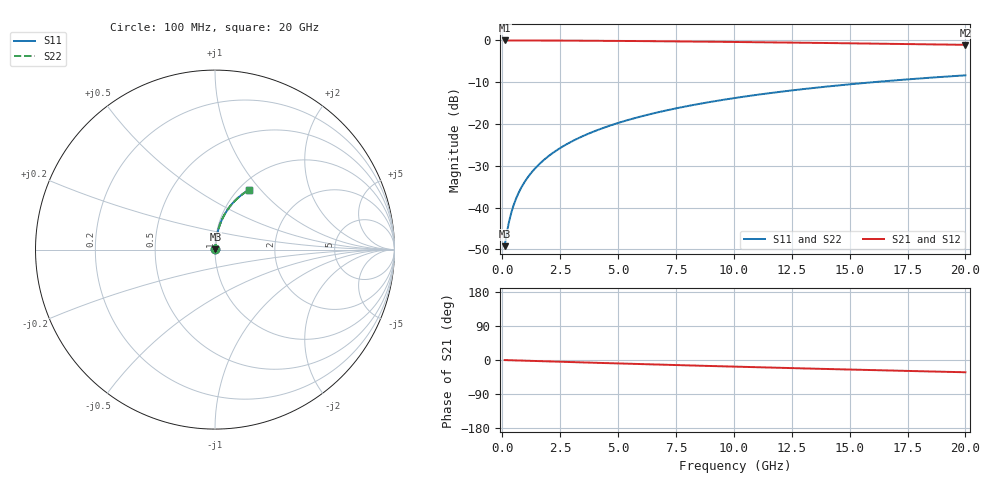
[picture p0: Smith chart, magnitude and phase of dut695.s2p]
! Touchstone file exported from HFSS 2024.1.0
!  File:  C:/UserFiles/LocalFiles/RDL_TSV_Batchsim/temp_RDL_top_695_1779782979.aedt
!  Generated:  04:11:55 PM May 26, 2026
!  Design:  RDL_top
!  Project:  temp_RDL_top_695_1779782979
!  Setup:  Setup1
!  Solution:  Sweep
! Variables:
!  dtsv = 10.80580581um
!  hbump = 3um
!  htsv = 94.2um
!  ldown = 100um
!  lrdl = 387.77um
!  p = 40
!  p1 = 52.47um
!  rhole = 1um
!  t = 450um
!  tdown = 3.915915916um
!  trdl = 3.88um
!  wdown = 15.38538539um
!  wrdl = 13.59um
# GHz S MA R 50.000000
! Terminal data exported
! Port[1] = Box2_T1
! Port[2] = Box2_T2
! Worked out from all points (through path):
!   200 points, 100 MHz to 20 GHz, reference 50 ohm
!   highest |S21| = -0.02 dB at 100 MHz (marker M1); lowest = -1.1 dB at 20 GHz (marker M2)
!   group delay of S21, straight-line fit = 4.48 ps
!   lowest |S11| = -49.2 dB at 100 MHz (marker M3), VSWR 1.01, Z = 50.3 + j0.215 ohm
!   |S11| at or under -10 dB: start of sweep to 16.03 GHz
!   |S22| runs from -49.2 to -8.4 dB; largest |S21 - S12| = 4.1e-15
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0.1  0.003458 38.2  0.9973 -0.2  0.9973 -0.2  0.003458 38.2
! Gamma 0 0 0 0
! Port Impedance 50 0 50 0
0.2  0.005082 56.9  0.9972 -0.4  0.9972 -0.4  0.005082 56.9
0.3  0.006966 65.8  0.9971 -0.6  0.9971 -0.6  0.006966 65.8
0.4  0.008927 70.7  0.997 -0.8  0.997 -0.8  0.008927 70.7
0.5  0.01092 73.8  0.9969 -0.9  0.9969 -0.9  0.01092 73.8
0.6  0.01292 75.9  0.9968 -1.1  0.9968 -1.1  0.01292 75.9
0.8  0.01694 78.6  0.9966 -1.5  0.9966 -1.5  0.01694 78.6
1.1  0.023 80.8  0.9963 -2.0  0.9963 -2.0  0.023 80.8
1.5  0.03113 82.2  0.9957 -2.8  0.9957 -2.8  0.03113 82.2
1.8  0.03725 82.7  0.9952 -3.3  0.9952 -3.3  0.03725 82.7
2.1  0.04338 82.9  0.9946 -3.9  0.9946 -3.9  0.04338 82.9
2.7  0.05566 83.0  0.9931 -5.0  0.9931 -5.0  0.05566 83.0
3.5  0.07205 82.6  0.9907 -6.4  0.9907 -6.4  0.07205 82.6
4.2  0.0864 82.1  0.9881 -7.7  0.9881 -7.7  0.0864 82.1
5  0.1028 81.2  0.9848 -9.1  0.9848 -9.1  0.1028 81.2
5.9  0.1212 80.2  0.9806 -10.6  0.9806 -10.6  0.1212 80.2
6.8  0.1395 79.1  0.976 -12.2  0.976 -12.2  0.1395 79.1
8.3  0.1698 77.1  0.9675 -14.7  0.9675 -14.7  0.1698 77.1
10.1  0.2056 74.6  0.9564 -17.6  0.9564 -17.6  0.2057 74.6
13.4  0.2689 69.8  0.9339 -22.8  0.9339 -22.8  0.2689 69.8
16.7  0.3279 65.0  0.9096 -27.7  0.9096 -27.7  0.3279 65.0
20  0.3819 60.4  0.884 -32.4  0.884 -32.4  0.3819 60.4
